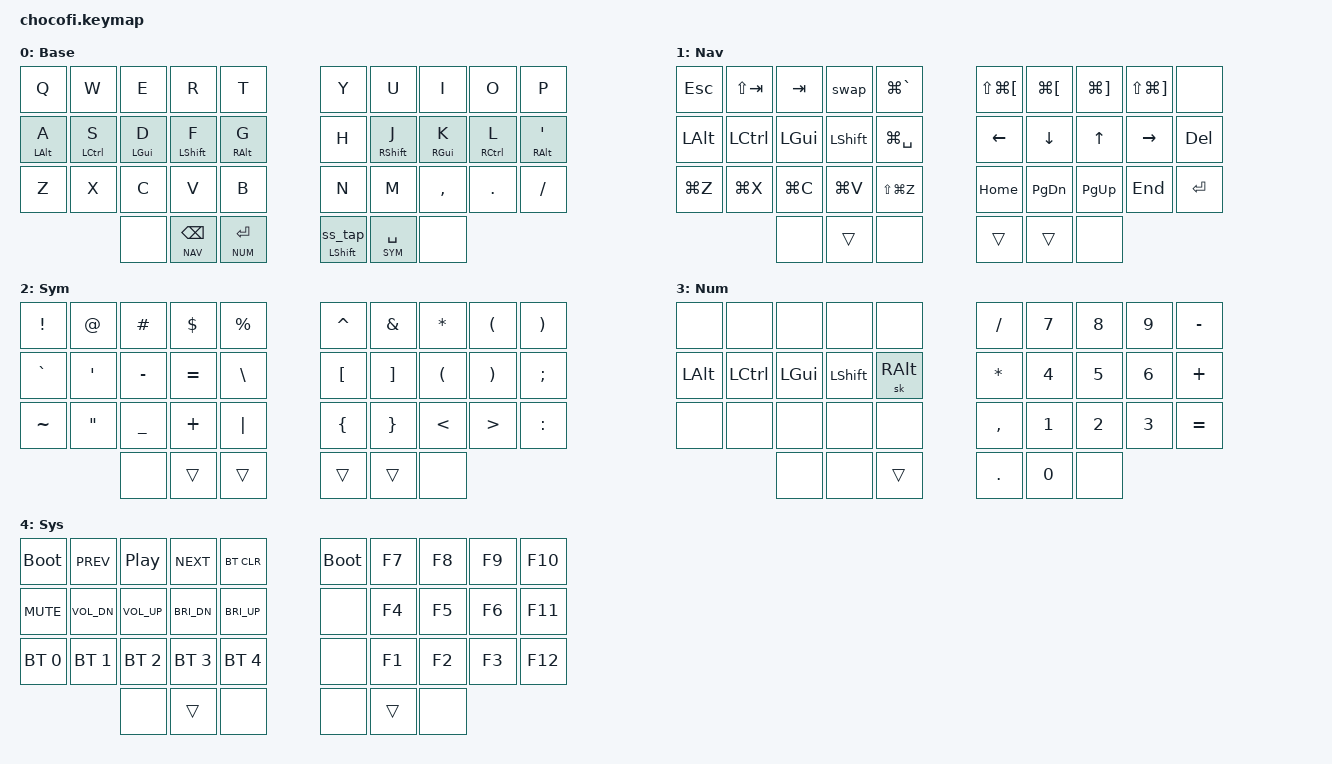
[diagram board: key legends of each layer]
#include <behaviors.dtsi>
#include <dt-bindings/zmk/bt.h>
#include <dt-bindings/zmk/keys.h>

/*                    36 key layout

  ╭────────────────────┬────────────────────╮
  │  0   1   2   3   4 │  5   6   7   8   9 │
  │ 10  11  12  13  14 │ 15  16  17  18  19 │
  │ 20  21  22  23  24 │ 25  26  27  28  29 │
  ╰───────╮ 30  31  32 │ 33  34  35 ╭───────╯
          ╰────────────┴────────────╯
  30/35 = tucked thumbs (unused), 31/34 = resting, 32/33 = reach
  Same layers as forager.keymap, with 30/35 added as &none.      */

#define BASE 0
#define NAV  1
#define SYM  2
#define NUM  3
#define SYS  4

&lt {
  flavor = "balanced";
  quick-tap-ms = <175>;
  tapping-term-ms = <250>;
};

&sk {
  release-after-ms = <1000>;
  quick-release;
};

/ {
  behaviors {
    hml: homewrow_mods_left {
      compatible = "zmk,behavior-hold-tap";
      #binding-cells = <2>;
      flavor = "balanced";
      bindings = <&kp>, <&kp>;
      tapping-term-ms = <280>;
      quick-tap-ms = <175>;
      require-prior-idle-ms = <150>;
      hold-trigger-on-release;
      hold-trigger-key-positions = <5 6 7 8 9 15 16 17 18 19 25 26 27 28 29 30 31 32 33 34 35>;
    };

    hmr: homewrow_mods_right {
      compatible = "zmk,behavior-hold-tap";
      #binding-cells = <2>;
      flavor = "balanced";
      bindings = <&kp>, <&kp>;
      tapping-term-ms = <280>;
      quick-tap-ms = <175>;
      require-prior-idle-ms = <150>;
      hold-trigger-on-release;
      hold-trigger-key-positions = <0 1 2 3 4 10 11 12 13 14 20 21 22 23 24 30 31 32 33 34 35>;
    };

    // Tap: one-shot shift. Tap again while it's active: caps word.
    ss_tap: smart_shift_tap {
      compatible = "zmk,behavior-mod-morph";
      #binding-cells = <0>;
      bindings = <&sk LSHFT>, <&caps_word>;
      mods = <(MOD_LSFT|MOD_RSFT)>;
    };

    // Hold: regular shift. Tap: see ss_tap.
    sshift: smart_shift {
      compatible = "zmk,behavior-hold-tap";
      #binding-cells = <2>;
      flavor = "hold-preferred";
      bindings = <&kp>, <&ss_tap>;
      tapping-term-ms = <200>;
      quick-tap-ms = <200>;
    };

    // Cmd+Tab app switcher: Cmd stays down while Nav is held. Releasing Nav
    // (or pressing any other key) picks the app. Shift+Tab (1) and the arrows
    // (15-18) move through the switcher without ending it.
    swap: swapper {
      compatible = "zmk,behavior-tri-state";
      #binding-cells = <0>;
      bindings = <&kt LGUI>, <&kp TAB>, <&kt LGUI>;
      ignored-key-positions = <1 15 16 17 18>;
    };
  };

  conditional_layers {
    compatible = "zmk,conditional-layers";

    sys_layer {
      if-layers = <NAV SYM>;
      then-layer = <SYS>;
    };
  };

  keymap {
    compatible = "zmk,keymap";

    base_layer {
      display-name = "Base";
      bindings = <
        &kp Q        &kp W         &kp E        &kp R           &kp T          &kp Y             &kp U         &kp I        &kp O         &kp P
        &hml LALT A  &hml LCTRL S  &hml LGUI D  &hml LSHFT F    &hml RALT G    &kp H             &hmr RSHFT J  &hmr RGUI K  &hmr RCTRL L  &hmr RALT SQT
        &kp Z        &kp X         &kp C        &kp V           &kp B          &kp N             &kp M         &kp COMMA    &kp DOT       &kp FSLH
                                     &none      &lt NAV BSPC    &lt NUM RET    &sshift LSHFT 0   &lt SYM SPACE  &none
      >;
    };

    nav_layer {
      display-name = "Nav";
      bindings = <
        &kp ESC     &kp LS(TAB)  &kp TAB    &swap      &kp LG(GRAVE)       &kp LS(LG(LBKT))  &kp LG(LBKT)   &kp LG(RBKT)  &kp LS(LG(RBKT))  &none
        &kp LALT    &kp LCTRL    &kp LGUI   &kp LSHFT  &kp LG(SPACE)       &kp LEFT          &kp DOWN       &kp UP        &kp RIGHT         &kp DEL
        &kp LG(Z)   &kp LG(X)    &kp LG(C)  &kp LG(V)  &kp LS(LG(Z))       &kp HOME          &kp PG_DN      &kp PG_UP     &kp END           &kp RET
                                 &none      &trans     &none               &trans            &trans  &none
      >;
    };

    sym_layer {
      display-name = "Sym";
      bindings = <
        &kp EXCL   &kp AT   &kp HASH   &kp DLLR   &kp PRCNT    &kp CARET  &kp AMPS  &kp STAR  &kp LPAR  &kp RPAR
        &kp GRAVE  &kp SQT  &kp MINUS  &kp EQUAL  &kp BSLH     &kp LBKT   &kp RBKT  &kp LPAR  &kp RPAR  &kp SEMI
        &kp TILDE  &kp DQT  &kp UNDER  &kp PLUS   &kp PIPE     &kp LBRC   &kp RBRC  &kp LT    &kp GT    &kp COLON
                            &none      &trans     &trans       &trans     &trans  &none
      >;
    };

    num_layer {
      display-name = "Num";
      // Num+G: one-shot AltGr; release Num, then type the target key.
      bindings = <
        &none     &none      &none     &none      &none        &kp FSLH   &kp N7  &kp N8  &kp N9  &kp MINUS
        &kp LALT  &kp LCTRL  &kp LGUI  &kp LSHFT  &sk RALT     &kp STAR   &kp N4  &kp N5  &kp N6  &kp PLUS
        &none     &none      &none     &none      &none        &kp COMMA  &kp N1  &kp N2  &kp N3  &kp EQUAL
                            &none      &none      &trans       &kp DOT    &kp N0  &none
      >;
    };

    sys_layer {
      display-name = "Sys";
      bindings = <
        &bootloader     &kp C_PREV     &kp C_PP       &kp C_NEXT     &bt BT_CLR       &bootloader  &kp F7  &kp F8  &kp F9  &kp F10
        &kp C_MUTE      &kp C_VOL_DN   &kp C_VOL_UP   &kp C_BRI_DN   &kp C_BRI_UP     &none        &kp F4  &kp F5  &kp F6  &kp F11
        &bt BT_SEL 0    &bt BT_SEL 1   &bt BT_SEL 2   &bt BT_SEL 3   &bt BT_SEL 4     &none        &kp F1  &kp F2  &kp F3  &kp F12
                                           &none      &trans         &none            &none        &trans  &none
      >;
    };
  };
};
